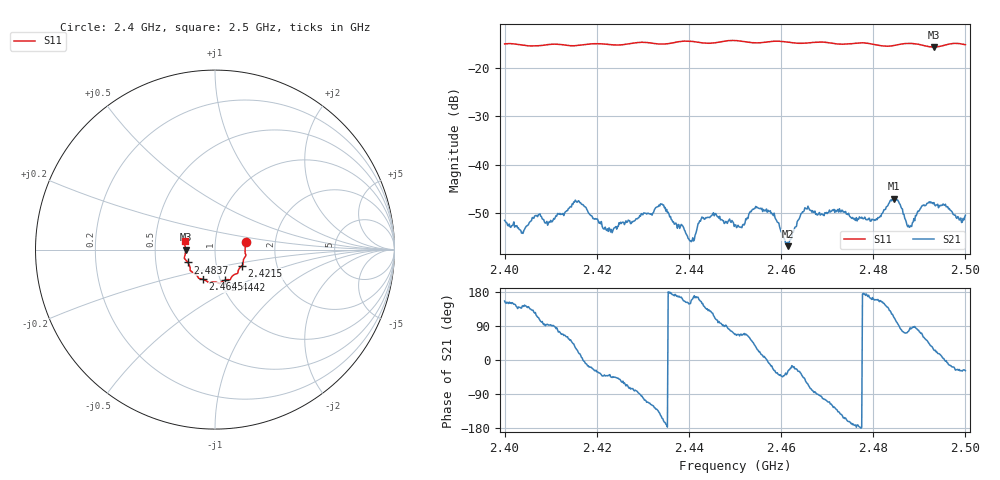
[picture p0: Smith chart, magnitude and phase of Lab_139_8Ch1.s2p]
# Hz S RI R 50
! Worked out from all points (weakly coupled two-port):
!   601 points, 2.4 GHz to 2.5 GHz, reference 50 ohm
!   highest |S21| = -47.04 dB at 2.4845 GHz (marker M1); lowest = -56.8 dB at 2.4615 GHz (marker M2)
!   lowest |S11| = -15.7 dB at 2.4932 GHz (marker M3), VSWR 1.39, Z = 36 - j0.0597 ohm
!   |S11| at or under -10 dB: start of sweep to end of sweep
!   S12 and S22 are empty: the file has one direction only
!   S11 on the Smith chart (normalised r, x): 2.4 GHz: 1.41, +0.12; 2.4215 GHz: 1.33, -0.25; 2.4442 GHz: 1.05, -0.37; 2.4645 GHz: 0.83, -0.29; 2.4837 GHz: 0.73, -0.11; 2.5 GHz: 0.71, +0.07
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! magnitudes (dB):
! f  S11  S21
! 2.4 GHz  -15.1  -51.5
! 2.4038 GHz  -15.3  -54.0
! 2.407 GHz  -15.5  -50.6
! 2.4098 GHz  -15.2  -51.9
! 2.4167 GHz  -15.3  -48.2
! 2.4215 GHz  -15.1  -53.3
! 2.4333 GHz  -15.1  -48.7
! 2.4405 GHz  -14.5  -55.9
! 2.4442 GHz  -15.0  -50.9
! 2.45 GHz  -14.4  -52.5
! 2.4543 GHz  -14.9  -49.1
! 2.4572 GHz  -14.7  -49.4
! 2.4615 GHz  -14.7  -56.8
! 2.4645 GHz  -15.0  -50.0
! 2.4667 GHz  -14.8  -49.8
! 2.4798 GHz  -15.1  -51.3
! 2.4833 GHz  -15.5  -48.1
! 2.4837 GHz  -15.5  -47.5
! 2.4845 GHz  -15.4  -47.0
! 2.4878 GHz  -15.0  -53.0
! 2.4932 GHz  -15.7  -47.8
! 2.5 GHz  -15.3  -50.5
